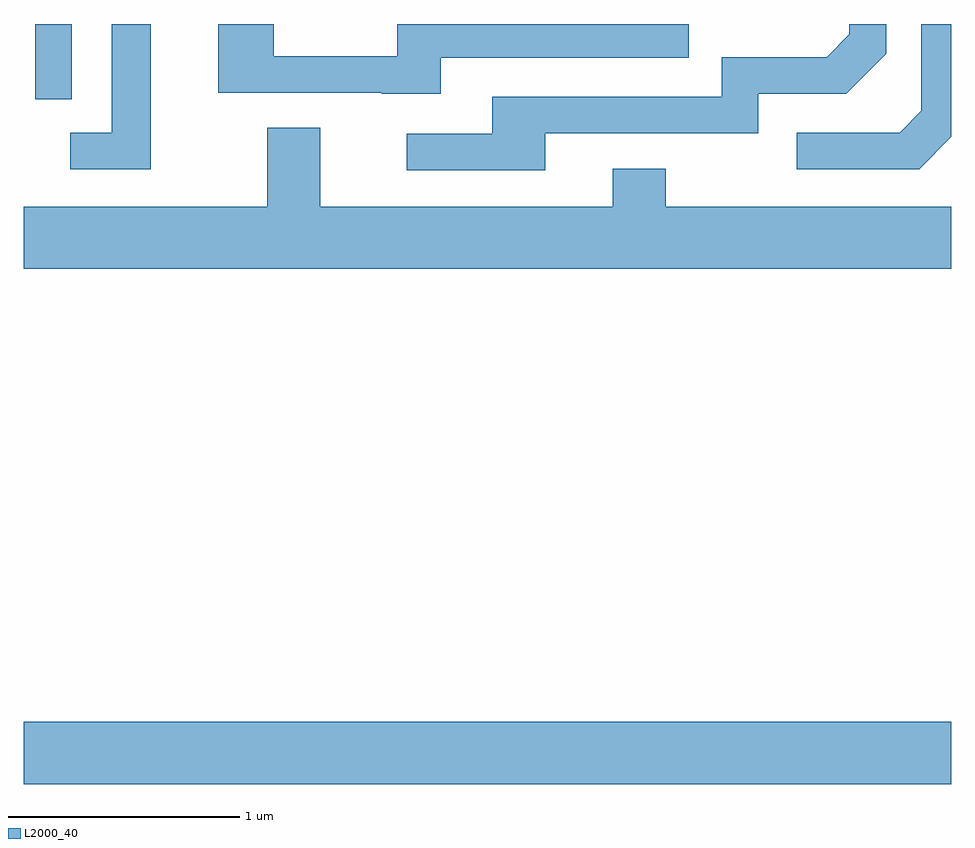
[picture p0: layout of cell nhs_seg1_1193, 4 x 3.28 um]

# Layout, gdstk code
import gdstk
lib = gdstk.Library(unit=1e-6, precision=1e-09)
def R(c, l, rs):  # rectangles x0, y0, x1, y1
    for r in rs: c.add(gdstk.rectangle(r[:2], r[2:], *l))
def P(c, l, *ps):  # polygons
    for p in ps: c.add(gdstk.Polygon(p, *l))
L2000_40 = (2000, 40)

nhs_seg1_1193 = lib.new_cell('nhs_seg1_1193')
R(nhs_seg1_1193, L2000_40, [(221.611,928.436,225.611,928.704), (221.661,931.388,221.819,931.712)])
P(nhs_seg1_1193, L2000_40, [(225.611,931.226),(225.611,931.712),(225.481,931.712),(225.481,931.337),(225.389,931.244),(224.943,931.244),(224.943,931.086),(225.472,931.086)],
  [(223.859,931.241),(224.779,931.241),(224.779,931.411),(225.157,931.411),(225.329,931.584),(225.329,931.712),(225.171,931.712),(225.171,931.667),(225.074,931.569),(224.621,931.569),(224.621,931.399),(223.631,931.399),(223.631,931.239),(223.263,931.239),(223.263,931.081),(223.859,931.081)],
  [(223.409,931.566),(224.478,931.566),(224.478,931.712),(223.221,931.712),(223.221,931.574),(222.689,931.574),(222.689,931.712),(222.451,931.712),(222.451,931.416),(223.155,931.416),(223.155,931.411),(223.409,931.411)],
  [(222.159,931.712),(221.991,931.712),(221.991,931.244),(221.813,931.244),(221.813,931.086),(222.159,931.086)],
  [(225.611,930.924),(224.379,930.924),(224.379,931.089),(224.151,931.089),(224.151,930.924),(222.889,930.924),(222.889,931.264),(222.661,931.264),(222.661,930.924),(221.611,930.924),(221.611,930.656),(225.611,930.656)])

lib.write_gds('nhs_seg1_1193.gds')
